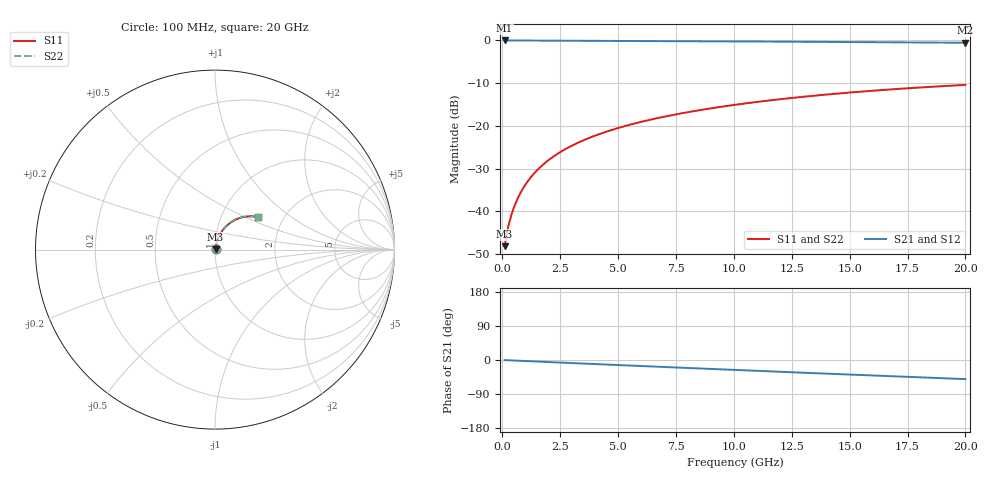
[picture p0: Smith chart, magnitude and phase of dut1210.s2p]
! Touchstone file exported from HFSS 2026.1.0
!  File:  C:/ffzhzh/LocalFiles/Ansys_Project_Files/temp_train_TMRDL_1210_1783163127_43440.aedt
!  Generated:  07:06:44 PM Jul  4, 2026
!  Design:  TMRDL
!  Project:  temp_train_TMRDL_1210_1783163127_43440
! Variables:
!  h_bsmrdl = 2um
!  h_ox = 20um
!  h_rdl = 5um
!  h_sub = 80um
!  h_tmrdl = 5.69um
!  h_tsv = 80um
!  h_via = 3um
!  l_bsmrdl = 300um
!  l_sub = 1254.54um
!  l_tmrdl = 854.54um
!  m_sub = 200um
!  pitch = 32.25um
!  r_tsv = 6um
!  s_tmrdl = 10um
!  w_bsmrdl = 18um
!  w_sub = 500um
!  w_tmrdl = 17.69um
!  x_tsv_center1 = 863.385um
!  x_tsv_center2 = 1181.385um
!  x_tsv_center3 = 2053.615um
!  x_tsv_center4 = 2371.615um
!  x_tsv_center5 = 3243.845um
!  x_tsv_center6 = 3561.845um
# GHz S MA R 50.000000
! Terminal data exported
! Port[1] = TM_RDL1_1_T1
! Port[2] = TM_RDL1_1_T2
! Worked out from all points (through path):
!   200 points, 100 MHz to 20 GHz, reference 50 ohm
!   highest |S21| = -0.03 dB at 100 MHz (marker M1); lowest = -0.6 dB at 20 GHz (marker M2)
!   group delay of S21, straight-line fit = 6.98 ps
!   lowest |S11| = -48.1 dB at 100 MHz (marker M3), VSWR 1.01, Z = 50.3 + j0.231 ohm
!   |S11| at or under -10 dB: start of sweep to end of sweep
!   |S22| runs from -48.1 to -10.4 dB; largest |S21 - S12| = 9.5e-15
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0.1  0.003921 35.8  0.9968 -0.3  0.9968 -0.3  0.003921 35.8
! Gamma 0 0 0 0
! Port Impedance 50 0 50 0
0.2  0.005599 52.0  0.9966 -0.6  0.9966 -0.6  0.005599 52.0
0.3  0.007391 60.0  0.9964 -0.8  0.9964 -0.8  0.007391 60.0
0.4  0.00921 64.9  0.9962 -1.1  0.9962 -1.1  0.00921 64.9
0.5  0.01106 68.2  0.9961 -1.4  0.9961 -1.4  0.01106 68.2
0.6  0.01293 70.6  0.996 -1.7  0.996 -1.7  0.01293 70.6
0.8  0.01673 73.6  0.9958 -2.2  0.9958 -2.2  0.01673 73.6
1.1  0.02251 75.9  0.9954 -3.0  0.9954 -3.0  0.02251 75.9
1.3  0.02638 76.6  0.9952 -3.6  0.9952 -3.6  0.02638 76.6
1.6  0.03217 77.0  0.9947 -4.4  0.9947 -4.4  0.03217 77.0
2.1  0.04174 76.9  0.9938 -5.7  0.9938 -5.7  0.04174 76.9
2.7  0.05304 76.1  0.9925 -7.3  0.9925 -7.3  0.05304 76.1
3.5  0.06775 74.5  0.9906 -9.4  0.9906 -9.4  0.06775 74.6
4.2  0.0803 73.0  0.9888 -11.3  0.9888 -11.3  0.0803 73.1
5  0.09432 71.3  0.9867 -13.3  0.9867 -13.3  0.09432 71.3
5.9  0.1097 69.2  0.9842 -15.7  0.9842 -15.7  0.1097 69.3
6.8  0.1248 67.2  0.9817 -18.0  0.9817 -18.0  0.1248 67.2
8.3  0.1491 63.7  0.9772 -21.8  0.9772 -21.8  0.1491 63.8
10.1  0.1771 59.5  0.9715 -26.3  0.9715 -26.3  0.1771 59.6
13.4  0.2243 51.9  0.9603 -34.5  0.9603 -34.5  0.2243 51.9
16.7  0.2659 44.2  0.9487 -42.6  0.9487 -42.6  0.2659 44.3
20  0.3014 36.7  0.9374 -50.4  0.9374 -50.4  0.3014 36.8
